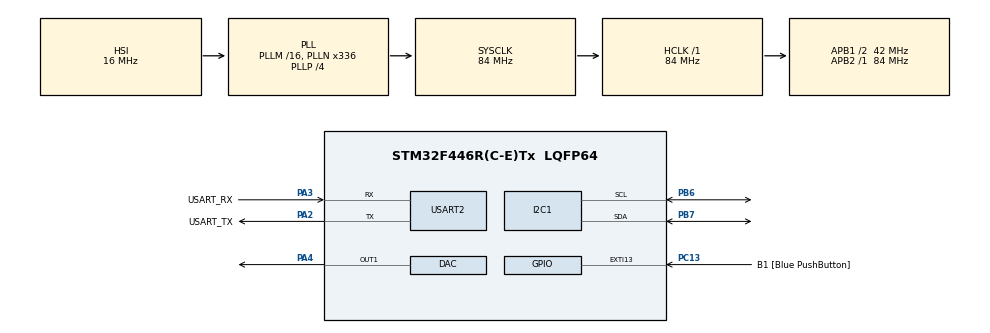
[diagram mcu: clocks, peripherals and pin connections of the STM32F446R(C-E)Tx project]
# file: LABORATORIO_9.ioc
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DAC.DAC_Trigger=DAC_TRIGGER_T6_TRGO
Dma.DAC1.0.Direction=DMA_MEMORY_TO_PERIPH
Dma.DAC1.0.FIFOMode=DMA_FIFOMODE_DISABLE
Dma.DAC1.0.Instance=DMA1_Stream5
Dma.DAC1.0.MemDataAlignment=DMA_MDATAALIGN_HALFWORD
Dma.DAC1.0.MemInc=DMA_MINC_ENABLE
Dma.DAC1.0.Mode=DMA_CIRCULAR
Dma.DAC1.0.PeriphDataAlignment=DMA_PDATAALIGN_HALFWORD
Dma.DAC1.0.PeriphInc=DMA_PINC_DISABLE
Dma.DAC1.0.Priority=DMA_PRIORITY_LOW
Dma.Request0=DAC1
I2C1.OwnAddress=32
Mcu.Family=STM32F4
Mcu.Name=STM32F446R(C-E)Tx
Mcu.Package=LQFP64
NVIC.DMA1_Stream5_IRQn=true\:0\:0\:false\:false\:true\:false\:true\:true
NVIC.I2C1_ER_IRQn=true\:0\:0\:false\:false\:true\:true\:true\:true
NVIC.I2C1_EV_IRQn=true\:0\:0\:false\:false\:true\:true\:true\:true
NVIC.PriorityGroup=NVIC_PRIORITYGROUP_0
NVIC.USART2_IRQn=true\:0\:0\:false\:false\:true\:true\:true\:true
PA13.GPIO_Label=TMS
PA13.Mode=Serial_Wire
PA13.Signal=SYS_JTMS-SWDIO
PA14.GPIO_Label=TCK
PA14.Mode=Serial_Wire
PA14.Signal=SYS_JTCK-SWCLK
PA2.GPIO_Label=USART_TX
PA2.Mode=Asynchronous
PA2.Signal=USART2_TX
PA3.GPIO_Label=USART_RX
PA3.Mode=Asynchronous
PA3.Signal=USART2_RX
PA4.Signal=COMP_DAC1_group
PB3.GPIO_Label=SWO
PB3.Signal=SYS_JTDO-SWO
PB6.Mode=I2C
PB6.Signal=I2C1_SCL
PB7.Mode=I2C
PB7.Signal=I2C1_SDA
PC13.GPIO_Label=B1 [Blue PushButton]
PC13.GPIO_ModeDefaultEXTI=GPIO_MODE_IT_FALLING
PC13.Signal=GPXTI13
PC14-OSC32_IN.Mode=LSE-External-Oscillator
PC14-OSC32_IN.Signal=RCC_OSC32_IN
PC15-OSC32_OUT.Mode=LSE-External-Oscillator
PC15-OSC32_OUT.Signal=RCC_OSC32_OUT
PH0-OSC_IN.Mode=HSE-External-Oscillator
PH0-OSC_IN.Signal=RCC_OSC_IN
PH1-OSC_OUT.Mode=HSE-External-Oscillator
PH1-OSC_OUT.Signal=RCC_OSC_OUT
ProjectManager.HeapSize=0x200
ProjectManager.StackSize=0x400
ProjectManager.TargetToolchain=STM32CubeIDE
RCC.48MHZClocksFreq_Value=84000000
RCC.AHBFreq_Value=84000000
RCC.APB1CLKDivider=RCC_HCLK_DIV2
RCC.APB1Freq_Value=42000000
RCC.APB1TimFreq_Value=84000000
RCC.APB2Freq_Value=84000000
RCC.APB2TimFreq_Value=84000000
RCC.CortexFreq_Value=84000000
RCC.FLatency-AdvancedSettings=FLASH_LATENCY_2
RCC.HCLKFreq_Value=84000000
RCC.HSE_VALUE=8000000
RCC.HSI_VALUE=16000000
RCC.PLLN=336
RCC.PLLP=RCC_PLLP_DIV4
RCC.SYSCLKFreq_VALUE=84000000
RCC.SYSCLKSource=RCC_SYSCLKSOURCE_PLLCLK
RCC.USBFreq_Value=168000000
RCC.VCOOutputFreq_Value=336000000
SH.COMP_DAC1_group.0=DAC_OUT1,DAC_OUT1
TIM1.Period=100-1
TIM1.Prescaler=0
TIM6.Period=1000-1
TIM6.Prescaler=1-1
TIM6.TIM_MasterOutputTrigger=TIM_TRGO_UPDATE
USART2.VirtualMode=VM_ASYNC
VP_TIM1_VS_ClockSourceINT.Mode=Internal
VP_TIM6_VS_ClockSourceINT.Mode=Enable_Timer
board=NUCLEO-F446RE

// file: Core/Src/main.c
/* USER CODE BEGIN Header */
/**
  ******************************************************************************
  * @file           : main.c
  * @brief          : Main program body
  ******************************************************************************
  * @attention
  *
  * Copyright (c) 2026 STMicroelectronics.
  * All rights reserved.
  *
  * This software is licensed under terms that can be found in the LICENSE file
  * in the root directory of this software component.
  * If no LICENSE file comes with this software, it is provided AS-IS.
  *
  ******************************************************************************
  */
/* USER CODE END Header */
#include "main.h"

/* USER CODE BEGIN Includes */
#include <stdint.h>
#include <stdio.h>
#include <string.h>
#include <math.h>
/* USER CODE END Includes */

/* USER CODE BEGIN PTD */
#define TIM_FREQ 84000000
#define PSC_DAC 1
#define size 128
#define PI 3.1415926535

// ==========================================
// DICCIONARIO DE NOTAS (Frecuencias en Hz)
// ==========================================

// --- BAJOS (Octavas 2 y 3) - Para ritmos pesados y marchas ---
#define C2  65
#define Db2 69
#define D2  73
#define Eb2 78
#define E2  82
#define F2  87
#define Gb2 92
#define G2  98
#define Ab2 104
#define A2  110
#define Bb2 117
#define B2  123

#define C3  131
#define Db3 139
#define D3  147
#define Eb3 156
#define E3  165
#define F3  175
#define Gb3 185
#define G3  196
#define Ab3 208
#define A3  220
#define Bb3 233
#define B3  247

// --- MEDIOS (Octavas 4, 5 y 6) - Melodías principales ---
#define C4  262
#define Db4 277
#define D4  294
#define Eb4 311
#define E4  330
#define F4  349
#define Gb4 370
#define G4  392
#define Ab4 415
#define A4  440
#define Bb4 466
#define B4  494

#define C5  523
#define Db5 554
#define D5  587
#define Eb5 622
#define E5  659
#define F5  698
#define Gb5 740
#define G5  784
#define Ab5 831
#define A5  880
#define Bb5 932
#define B5  988

#define C6  1047
#define Db6 1109
#define D6  1175
#define Eb6 1245
#define E6  1319
#define F6  1397
#define Gb6 1480
#define G6  1568
#define Ab6 1661
#define A6  1760
#define Bb6 1865
#define B6  1976

// --- AGUDOS Y SFX (Octava 7) - Monedas, saltos, láseres ---
#define C7  2093
#define Db7 2217
#define D7  2349
#define Eb7 2489
#define E7  2637
#define F7  2794
#define Gb7 2960
#define G7  3136
#define Ab7 3322
#define A7  3520
#define Bb7 3729
#define B7  3951

// Direccion I2C del ESP32 (7-bit, shifted left for HAL)
#define ESP32_I2C_ADDR  (0x10 << 1)

// Comandos recibidos del ESP32
#define CMD_RIGHT   'R'
#define CMD_LEFT    'L'
#define CMD_UP      'U'
#define CMD_DOWN    'D'
#define CMD_A       'A'
#define CMD_B       'B'
#define CMD_PAUSE   'T'
#define CMD_PLAY    'P'
#define CMD_DEATH   'M'
#define CMD_WIN     'W'
/* USER CODE END PTD */

DAC_HandleTypeDef hdac;
DMA_HandleTypeDef hdma_dac1;

I2C_HandleTypeDef hi2c1;

TIM_HandleTypeDef htim1;
TIM_HandleTypeDef htim6;

UART_HandleTypeDef huart2;

/* USER CODE BEGIN PV */
uint32_t Ysine[size];
uint8_t  receivedRX = 0;
volatile uint8_t flagChange = 0;

// --- I2C interrupt variables ---
uint8_t  i2cRxBuf = 0;
volatile uint8_t flagI2C = 0;
volatile uint8_t i2cReady = 1;

// --- Estado de canciones ---
uint8_t currentSong = 0;
uint8_t isPaused = 0;

// =====================================================================
// EFECTO: R y L - Paso corto (tap tap)
// =====================================================================
int sfx_walk[] = {
    E4, 0, G4, 0, E4, 0
};
int dur_walk[] = {
    40, 20, 40, 20, 40, 30
};

// =====================================================================
// EFECTO: U (Arriba) - Blip ultra corto
// =====================================================================
int sfx_up[] = {
    C5, E5
};
int dur_up[] = {
    25, 35
};

// =====================================================================
// EFECTO: D (Abajo) - Boop descendente suave
// =====================================================================
int sfx_down[] = {
    E5, C5, A4
};
int dur_down[] = {
    35, 35, 50
};

// =====================================================================
// EFECTO: A - Golpe seco (hit)
// =====================================================================
int sfx_a[] = {
    C6
};
int dur_a[] = {
    25
};

// =====================================================================
// EFECTO: B - Salto tipo Mario (sweep rapido hacia arriba)
// =====================================================================
int sfx_b[] = {
    C4, E4, G4, C5, E5
};
int dur_b[] = {
    20, 20, 20, 20, 30
};

// =====================================================================
// CANCION T (Pausa) - Tema chill de espera estilo 8-bit
// =====================================================================
int song_pause[] = {
		// El "Riff" de bajo inicial (muy rápido)
		    G4, G4, Bb4, G4, C5, G4, Bb4, G4,
		    G4, G4, Bb4, G4, C5, G4, Bb4, G4,

		    // Melodía de entrada (Heroica)
		    D5, G4, Bb4, C5, D5, G4, Bb4, C5,
		    D5, G4, Bb4, C5, D5, Eb5, D5, C5,

		    // Subida de tensión
		    G5, 0, G5, 0, F5, 0, F5, 0,
		    Eb5, 0, Eb5, 0, D5, 0, D5, 0,

		    // El Clímax (Spear of Justice acelerado)
		    G5, F5, Eb5, D5, C5, Bb4, A4, G4,
		    D5, G5, F5, G5, A5, Bb5, C6, D6
};
int dur_pause[] = {
		// Riff inicial (80ms por nota para que se sienta el galope)
		    80, 80, 80, 80, 80, 80, 80, 80,
		    80, 80, 80, 80, 80, 80, 80, 80,

		    // Melodía (Más rápida que la anterior)
		    120, 120, 120, 120, 120, 120, 120, 120,
		    120, 120, 120, 120, 120, 120, 120, 120,

		    // Tensión (Notas cortadas / Staccato)
		    100, 50, 100, 50, 100, 50, 100, 50,
		    100, 50, 100, 50, 100, 50, 100, 50,

		    // Clímax
		    100, 100, 100, 100, 100, 100, 100, 100,
		    100, 100, 100, 100, 100, 100, 100, 400
};

// =====================================================================
// CANCION P (Play) - Tema energico de accion 8-bit
// =====================================================================
int song_play[] = {
    E5, E5, 0, E5, 0, C5, E5, 0,
    G5, 0, G4, 0,
    C5, 0, G4, 0, E4, 0,
    A4, B4, Bb4, A4, 0,
    G4, E5, G5, A5, 0,
    F5, G5, 0, E5, 0,
    C5, D5, B4, 0
};
int dur_play[] = {
    100, 100, 50, 100, 50, 100, 100, 100,
    200, 100, 200, 100,
    150, 50, 150, 50, 150, 50,
    100, 100, 100, 150, 50,
    100, 100, 100, 200, 50,
    100, 100, 50, 150, 50,
    100, 100, 200, 200
};

// =====================================================================
// M (Muerte) - Game Over Arcade (extraido de freesound MP3)
// 35 notas, ~1s - bajada cromatica dramatica
// =====================================================================
int tone_death[] = {
		// Paso lento inicial (Pa - Pa - Pa, pira-Pa)
		    C4, 0, C4, 0, C4, Eb4, D4, 0,
		    // Segundo paso, bajando de tono
		    D4, 0, C4, G4, 0,
		    // Caída dramática final hacia la tumba
		    Ab4, G4, F4, Eb4, D4, C4
};
int dur_death[] = {
		// Tiempos largos con silencios pesados
		    500, 100, 500, 100, 350, 150, 800, 100,
		    500, 100, 300, 800, 100,
		    // La caída lenta
		    400, 400, 400, 400, 400, 1200
};

// =====================================================================
// W (Win) - 8-bit Victory Theme (extraido de moodmode MP3)
// 254 notas, ~12s - melodia de victoria
// =====================================================================
int tone_win[] = {
		// Compás 2
		    E5, E5, D5, E5,
		    // Compás 3
		    Gb5, E5, Eb5, E5,
		    // Compás 4
		    D5, D5, Db5, D5,
		    // Compás 5
		    E5, D5, Db5, B4,
		    // Compás 6
		    C5, C5, B4, A4,
		    // Compás 7
		    Ab4, A4, B4
};
int dur_win[] = {
		160, 80, 160, 80, // Ritmo: Ta - ta, Ta - ta
		    160, 80, 160, 80,
		    160, 80, 160, 80,
		    160, 80, 160, 80,
		    160, 80, 160, 80,
		    160, 80, 240      // Cierre del intro
};

char mensaje[] = "\r\n--- CONSOLA DK (DAC + I2C IT) ---\r\nComandos: R L U D A B T P M W\r\n> ";
/* USER CODE END PV */

void SystemClock_Config(void);
static void MX_GPIO_Init(void);
static void MX_DMA_Init(void);
static void MX_DAC_Init(void);
static void MX_TIM1_Init(void);
static void MX_USART2_UART_Init(void);
static void MX_TIM6_Init(void);
static void MX_I2C1_Init(void);
/* USER CODE BEGIN PFP */
void generarSin(void);
int  calcularARR(int freq);
void playTone_DAC1(int *tone, int *duration, int Nsize);
void sendMenu(void);
void sendUART(char *str);
void processCommand(uint8_t cmd);
void startI2C_Receive_IT(void);
/* USER CODE END PFP */

/* USER CODE BEGIN 0 */
void generarSin(void) {
    for (int x = 0; x < size; x++) {
        Ysine[x] = (uint32_t)(2048.0 + (sin(x * 2.0 * PI / size) * 800.0));
    }
}

int calcularARR(int freq) {
    if (freq <= 0) return 65535;
    return ((TIM_FREQ / ((PSC_DAC + 1) * size * freq)) - 1);
}

void sendUART(char *str) {
    HAL_UART_Transmit(&huart2, (uint8_t*)str, strlen(str), HAL_MAX_DELAY);
}

void sendMenu(void) {
    HAL_UART_Transmit(&huart2, (uint8_t*)mensaje, strlen(mensaje), HAL_MAX_DELAY);
    HAL_Delay(100);
}

void playTone_DAC1(int *tone, int *duration, int Nsize) {
    HAL_TIM_Base_Start(&htim6);

    for (int i = 0; i < Nsize; i++) {
        if (tone[i] == 0) {
            HAL_DAC_Stop_DMA(&hdac, DAC_CHANNEL_1);
            HAL_DAC_SetValue(&hdac, DAC_CHANNEL_1, DAC_ALIGN_12B_R, 2048);
        } else {
            htim6.Instance->ARR = calcularARR(tone[i]);
            HAL_DAC_Start_DMA(&hdac, DAC_CHANNEL_1, (uint32_t*)Ysine, size, DAC_ALIGN_12B_R);
        }

        HAL_Delay(duration[i]);

        HAL_DAC_Stop_DMA(&hdac, DAC_CHANNEL_1);
        HAL_DAC_SetValue(&hdac, DAC_CHANNEL_1, DAC_ALIGN_12B_R, 2048);
        HAL_Delay(15);
    }

    HAL_TIM_Base_Stop(&htim6);
}

// =====================================================================
// Lanzar recepcion I2C por interrupcion
// =====================================================================
void startI2C_Receive_IT(void) {
	i2cReady = 0;

	    HAL_I2C_Slave_Receive_IT(&hi2c1, &i2cRxBuf, 1);
}

// =====================================================================
// Procesar comando recibido (UART o I2C)
// =====================================================================
void processCommand(uint8_t cmd) {
    char buf[60];

    switch (cmd) {

    case CMD_RIGHT:
    case 'r':
        sendUART("\r\n>> [R] Derecha\r\n");
        playTone_DAC1(sfx_walk, dur_walk, sizeof(sfx_walk)/sizeof(sfx_walk[0]));
        break;

    case CMD_LEFT:
    case 'l':
        sendUART("\r\n>> [L] Izquierda\r\n");
        playTone_DAC1(sfx_walk, dur_walk, sizeof(sfx_walk)/sizeof(sfx_walk[0]));
        break;

    case CMD_UP:
    case 'u':
        sendUART("\r\n>> [U] Arriba\r\n");
        playTone_DAC1(sfx_up, dur_up, sizeof(sfx_up)/sizeof(sfx_up[0]));
        break;

    case CMD_DOWN:
    case 'd':
        sendUART("\r\n>> [D] Abajo\r\n");
        playTone_DAC1(sfx_down, dur_down, sizeof(sfx_down)/sizeof(sfx_down[0]));
        break;

    case CMD_A:
    case 'a':
        sendUART("\r\n>> [A] Golpe\r\n");
        playTone_DAC1(sfx_a, dur_a, sizeof(sfx_a)/sizeof(sfx_a[0]));
        break;

    case CMD_B:
    case 'b':
        sendUART("\r\n>> [B] Salto\r\n");
        playTone_DAC1(sfx_b, dur_b, sizeof(sfx_b)/sizeof(sfx_b[0]));
        break;

    case CMD_PAUSE:
    case 't':
        isPaused = 1;
        sendUART("\r\n>> [T] Pausa\r\n");
        playTone_DAC1(song_pause, dur_pause, sizeof(song_pause)/sizeof(song_pause[0]));
        break;

    case CMD_PLAY:
    case 'p':
        isPaused = 0;
        if (currentSong == 0) {
            sendUART("\r\n>> [P] Play - Tema accion\r\n");
            playTone_DAC1(song_play, dur_play, sizeof(song_play)/sizeof(song_play[0]));
            currentSong = 1;
        } else {
            sendUART("\r\n>> [P] Play - Tema chill\r\n");
            playTone_DAC1(song_pause, dur_pause, sizeof(song_pause)/sizeof(song_pause[0]));
            currentSong = 0;
        }
        break;

    case CMD_DEATH:
    case 'm':

        {  // <-- Agrega esta llave
        	 sendUART("\r\n>> [M] GAME OVER\r\n");

                // Calculamos cuántas notas tiene la canción
                int size_death = sizeof(tone_death) / sizeof((tone_death)[0]);

                // Creamos un arreglo temporal para las duraciones nuevas
                int dur_lenta[size_death];

                for (int i = 0; i < size_death; i++) {
                    // MULTIPLICADOR DE VELOCIDAD:
                    // Pon * 2, * 3 o * 4 hasta encontrar la velocidad perfecta.
                    dur_lenta[i] = dur_death[i] * 1;
                }

                // Reproducimos usando el arreglo modificado
                playTone_DAC1(tone_death, dur_lenta, size_death);
                break;
            }  // <-- Y cierra la llave aquí
    case CMD_WIN:
    case 'w':
    {  // <-- Agrega esta llave
            sendUART("\r\n>> [W] VICTORY!\r\n");

            // Calculamos cuántas notas tiene la canción
            int size_win = sizeof(tone_win) / sizeof(tone_win[0]);

            // Creamos un arreglo temporal para las duraciones nuevas
            int dur_lenta[size_win];

            for (int i = 0; i < size_win; i++) {
                // MULTIPLICADOR DE VELOCIDAD:
                // Pon * 2, * 3 o * 4 hasta encontrar la velocidad perfecta.
                dur_lenta[i] = dur_win[i] * 1;
            }

            // Reproducimos usando el arreglo modificado
            playTone_DAC1(tone_win, dur_lenta, size_win);
            break;
        }  // <-- Y cierra la llave aquí

    default:
        sprintf(buf, "\r\n>> Comando no reconocido: 0x%02X ('%c')\r\n", cmd, cmd);
        sendUART(buf);
        break;
    }
}
/* USER CODE END 0 */

int main(void)
{

  /* MCU Configuration--------------------------------------------------------*/

  /* Reset of all peripherals, Initializes the Flash interface and the Systick. */
  HAL_Init();

  /* Configure the system clock */
  SystemClock_Config();

  /* Initialize all configured peripherals */
  MX_GPIO_Init();
  MX_DMA_Init();
  MX_DAC_Init();
  MX_TIM1_Init();
  MX_USART2_UART_Init();
  MX_TIM6_Init();
  MX_I2C1_Init();
  /* USER CODE BEGIN 2 */
  generarSin();

  // Arrancar UART RX por interrupcion
  HAL_UART_Receive_IT(&huart2, &receivedRX, 1);

  // Arrancar primera recepcion I2C por interrupcion
  startI2C_Receive_IT();
  /* USER CODE END 2 */

  /* Infinite loop */
  /* USER CODE BEGIN WHILE */
  sendMenu();
  while (1)
  {
      // --- Dato recibido por UART ---
      if (flagChange) {
          flagChange = 0;
          processCommand(receivedRX);
          sendMenu();
      }

      // --- Dato recibido por I2C (interrupcion) ---
      if (flagI2C) {
          flagI2C = 0;
          char buf[40];
          sprintf(buf, "\r\n[I2C] Recibido: '%c' (0x%02X)\r\n", i2cRxBuf, i2cRxBuf);
          sendUART(buf);
          processCommand(i2cRxBuf);
          sendMenu();

          // Re-armar la siguiente recepcion I2C
          startI2C_Receive_IT();
      }

      // Si la recepcion I2C se perdio (error/timeout), re-armar
      if (i2cReady) {
    	  HAL_Delay(5);
          startI2C_Receive_IT();
      }

    /* USER CODE END WHILE */

  }
}

void SystemClock_Config(void)
{
  RCC_OscInitTypeDef RCC_OscInitStruct = {0};
  RCC_ClkInitTypeDef RCC_ClkInitStruct = {0};

  /** Configure the main internal regulator output voltage
  */
  __HAL_RCC_PWR_CLK_ENABLE();
  __HAL_PWR_VOLTAGESCALING_CONFIG(PWR_REGULATOR_VOLTAGE_SCALE3);

  /** Initializes the RCC Oscillators according to the specified parameters
  * in the RCC_OscInitTypeDef structure.
  */
  RCC_OscInitStruct.OscillatorType = RCC_OSCILLATORTYPE_HSI;
  RCC_OscInitStruct.HSIState = RCC_HSI_ON;
  RCC_OscInitStruct.HSICalibrationValue = RCC_HSICALIBRATION_DEFAULT;
  RCC_OscInitStruct.PLL.PLLState = RCC_PLL_ON;
  RCC_OscInitStruct.PLL.PLLSource = RCC_PLLSOURCE_HSI;
  RCC_OscInitStruct.PLL.PLLM = 16;
  RCC_OscInitStruct.PLL.PLLN = 336;
  RCC_OscInitStruct.PLL.PLLP = RCC_PLLP_DIV4;
  RCC_OscInitStruct.PLL.PLLQ = 2;
  RCC_OscInitStruct.PLL.PLLR = 2;
  if (HAL_RCC_OscConfig(&RCC_OscInitStruct) != HAL_OK)
  {
    Error_Handler();
  }

  /** Initializes the CPU, AHB and APB buses clocks
  */
  RCC_ClkInitStruct.ClockType = RCC_CLOCKTYPE_HCLK|RCC_CLOCKTYPE_SYSCLK
                              |RCC_CLOCKTYPE_PCLK1|RCC_CLOCKTYPE_PCLK2;
  RCC_ClkInitStruct.SYSCLKSource = RCC_SYSCLKSOURCE_PLLCLK;
  RCC_ClkInitStruct.AHBCLKDivider = RCC_SYSCLK_DIV1;
  RCC_ClkInitStruct.APB1CLKDivider = RCC_HCLK_DIV2;
  RCC_ClkInitStruct.APB2CLKDivider = RCC_HCLK_DIV1;

  if (HAL_RCC_ClockConfig(&RCC_ClkInitStruct, FLASH_LATENCY_2) != HAL_OK)
  {
    Error_Handler();
  }
}

static void MX_DAC_Init(void)
{

  DAC_ChannelConfTypeDef sConfig = {0};

  /** DAC Initialization
  */
  hdac.Instance = DAC;
  if (HAL_DAC_Init(&hdac) != HAL_OK)
  {
    Error_Handler();
  }

  /** DAC channel OUT1 config
  */
  sConfig.DAC_Trigger = DAC_TRIGGER_T6_TRGO;
  sConfig.DAC_OutputBuffer = DAC_OUTPUTBUFFER_ENABLE;
  if (HAL_DAC_ConfigChannel(&hdac, &sConfig, DAC_CHANNEL_1) != HAL_OK)
  {
    Error_Handler();
  }

}

static void MX_I2C1_Init(void)
{

  hi2c1.Instance = I2C1;
  hi2c1.Init.ClockSpeed = 100000;
  hi2c1.Init.DutyCycle = I2C_DUTYCYCLE_2;

  // ¡AQUÍ ESTABA EL ERROR 1!
  hi2c1.Init.OwnAddress1 = ESP32_I2C_ADDR;

  hi2c1.Init.AddressingMode = I2C_ADDRESSINGMODE_7BIT;
  hi2c1.Init.DualAddressMode = I2C_DUALADDRESS_DISABLE;
  hi2c1.Init.OwnAddress2 = 0;
  hi2c1.Init.GeneralCallMode = I2C_GENERALCALL_DISABLE;
  hi2c1.Init.NoStretchMode = I2C_NOSTRETCH_DISABLE;
  if (HAL_I2C_Init(&hi2c1) != HAL_OK)
  {
    Error_Handler();
  }

}

static void MX_TIM1_Init(void)
{

  TIM_ClockConfigTypeDef sClockSourceConfig = {0};
  TIM_MasterConfigTypeDef sMasterConfig = {0};

  htim1.Instance = TIM1;
  htim1.Init.Prescaler = 0;
  htim1.Init.CounterMode = TIM_COUNTERMODE_UP;
  htim1.Init.Period = 100-1;
  htim1.Init.ClockDivision = TIM_CLOCKDIVISION_DIV1;
  htim1.Init.RepetitionCounter = 0;
  htim1.Init.AutoReloadPreload = TIM_AUTORELOAD_PRELOAD_DISABLE;
  if (HAL_TIM_Base_Init(&htim1) != HAL_OK)
  {
    Error_Handler();
  }
  sClockSourceConfig.ClockSource = TIM_CLOCKSOURCE_INTERNAL;
  if (HAL_TIM_ConfigClockSource(&htim1, &sClockSourceConfig) != HAL_OK)
  {
    Error_Handler();
  }
  sMasterConfig.MasterOutputTrigger = TIM_TRGO_RESET;
  sMasterConfig.MasterSlaveMode = TIM_MASTERSLAVEMODE_DISABLE;
  if (HAL_TIMEx_MasterConfigSynchronization(&htim1, &sMasterConfig) != HAL_OK)
  {
    Error_Handler();
  }

}

static void MX_TIM6_Init(void)
{

  TIM_MasterConfigTypeDef sMasterConfig = {0};

  htim6.Instance = TIM6;
  htim6.Init.Prescaler = 1-1;
  htim6.Init.CounterMode = TIM_COUNTERMODE_UP;
  htim6.Init.Period = 1000-1;
  htim6.Init.AutoReloadPreload = TIM_AUTORELOAD_PRELOAD_DISABLE;
  if (HAL_TIM_Base_Init(&htim6) != HAL_OK)
  {
    Error_Handler();
  }
  sMasterConfig.MasterOutputTrigger = TIM_TRGO_UPDATE;
  sMasterConfig.MasterSlaveMode = TIM_MASTERSLAVEMODE_DISABLE;
  if (HAL_TIMEx_MasterConfigSynchronization(&htim6, &sMasterConfig) != HAL_OK)
  {
    Error_Handler();
  }

}

static void MX_USART2_UART_Init(void)
{

  huart2.Instance = USART2;
  huart2.Init.BaudRate = 115200;
  huart2.Init.WordLength = UART_WORDLENGTH_8B;
  huart2.Init.StopBits = UART_STOPBITS_1;
  huart2.Init.Parity = UART_PARITY_NONE;
  huart2.Init.Mode = UART_MODE_TX_RX;
  huart2.Init.HwFlowCtl = UART_HWCONTROL_NONE;
  huart2.Init.OverSampling = UART_OVERSAMPLING_16;
  if (HAL_UART_Init(&huart2) != HAL_OK)
  {
    Error_Handler();
  }

}

static void MX_DMA_Init(void)
{

  /* DMA controller clock enable */
  __HAL_RCC_DMA1_CLK_ENABLE();

  /* DMA interrupt init */
  /* DMA1_Stream5_IRQn interrupt configuration */
  HAL_NVIC_SetPriority(DMA1_Stream5_IRQn, 0, 0);
  HAL_NVIC_EnableIRQ(DMA1_Stream5_IRQn);

}

static void MX_GPIO_Init(void)
{
  GPIO_InitTypeDef GPIO_InitStruct = {0};

  /* GPIO Ports Clock Enable */
  __HAL_RCC_GPIOC_CLK_ENABLE();
  __HAL_RCC_GPIOH_CLK_ENABLE();
  __HAL_RCC_GPIOA_CLK_ENABLE();
  __HAL_RCC_GPIOB_CLK_ENABLE();

  /*Configure GPIO pin : B1_Pin */
  GPIO_InitStruct.Pin = B1_Pin;
  GPIO_InitStruct.Mode = GPIO_MODE_IT_FALLING;
  GPIO_InitStruct.Pull = GPIO_NOPULL;
  HAL_GPIO_Init(B1_GPIO_Port, &GPIO_InitStruct);

}

/* USER CODE BEGIN 4 */

// =====================================================================
// CALLBACK: UART RX completo
// =====================================================================
void HAL_UART_RxCpltCallback(UART_HandleTypeDef *huart)
{
    if (huart->Instance == USART2)
    {
        flagChange = 1;
        HAL_UART_Receive_IT(&huart2, &receivedRX, 1);
    }
}

// =====================================================================
// ¡AQUÍ ESTABA EL ERROR 2! Reemplazado por HAL_I2C_SlaveRxCpltCallback
// =====================================================================
void HAL_I2C_SlaveRxCpltCallback(I2C_HandleTypeDef *hi2c)
{
    if (hi2c->Instance == I2C1)
    {
        if (i2cRxBuf != 0x00 && i2cRxBuf != 0xFF) {
            flagI2C = 1;
        } else {
            i2cReady = 1;
        }
    }
}

// =====================================================================
// CALLBACK: I2C Error (NACK, bus error, etc.)
// =====================================================================
void HAL_I2C_ErrorCallback(I2C_HandleTypeDef *hi2c)
{
    if (hi2c->Instance == I2C1)
    {
        i2cReady = 1;
    }
}

/* USER CODE END 4 */

void Error_Handler(void)
{
  __disable_irq();
  while (1)
  {
  }
}
